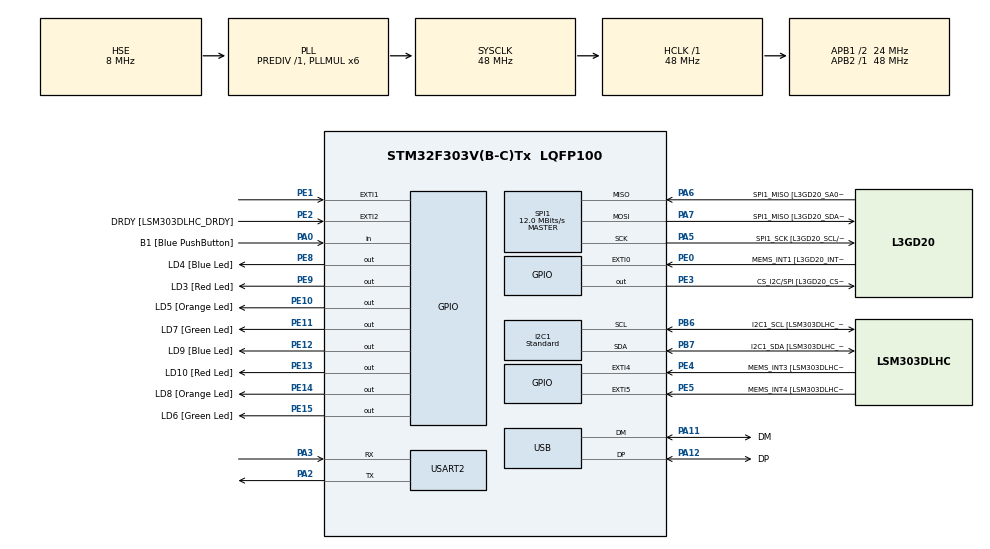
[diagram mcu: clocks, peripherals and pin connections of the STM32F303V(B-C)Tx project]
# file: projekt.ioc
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I2C1.I2C_Speed_Mode=I2C_Standard
I2C1.Timing-I2C=0x2000090E
Mcu.Family=STM32F3
Mcu.Name=STM32F303V(B-C)Tx
Mcu.Package=LQFP100
NVIC.PriorityGroup=NVIC_PRIORITYGROUP_0
NVIC.USB_LP_CAN_RX0_IRQn=true\:0\:0\:false\:false\:true\:false\:true\:true
PA0.GPIO_Label=B1 [Blue PushButton]
PA0.Signal=GPIO_Input
PA11.GPIO_Label=DM
PA11.Mode=Device
PA11.Signal=USB_DM
PA12.GPIO_Label=DP
PA12.Mode=Device
PA12.Signal=USB_DP
PA13.GPIO_Label=SWDIO
PA13.Mode=Serial_Wire
PA13.Signal=SYS_JTMS-SWDIO
PA14.GPIO_Label=SWCLK
PA14.Mode=Serial_Wire
PA14.Signal=SYS_JTCK-SWCLK
PA2.Mode=Asynchronous
PA2.Signal=USART2_TX
PA3.Mode=Asynchronous
PA3.Signal=USART2_RX
PA5.GPIO_Label=SPI1_SCK [L3GD20_SCL/SPC]
PA5.Mode=Full_Duplex_Master
PA5.Signal=SPI1_SCK
PA6.GPIO_Label=SPI1_MISO [L3GD20_SA0/SDO]
PA6.Mode=Full_Duplex_Master
PA6.Signal=SPI1_MISO
PA7.GPIO_Label=SPI1_MISO [L3GD20_SDA/SDI/SDO]
PA7.Mode=Full_Duplex_Master
PA7.Signal=SPI1_MOSI
PB3.GPIO_Label=SWO
PB3.Signal=SYS_JTDO-TRACESWO
PB6.GPIO_Label=I2C1_SCL [LSM303DLHC_SCL]
PB6.GPIO_Pu=GPIO_PULLUP
PB6.Mode=I2C
PB6.Signal=I2C1_SCL
PB7.GPIO_Label=I2C1_SDA [LSM303DLHC_SDA]
PB7.GPIO_Pu=GPIO_PULLUP
PB7.Mode=I2C
PB7.Signal=I2C1_SDA
PC14-OSC32_IN.GPIO_Label=OSC32_IN
PC14-OSC32_IN.Signal=RCC_OSC32_IN
PC15-OSC32_OUT.GPIO_Label=OSC32_OUT
PC15-OSC32_OUT.Signal=RCC_OSC32_OUT
PE0.GPIO_Label=MEMS_INT1 [L3GD20_INT1]
PE0.GPIO_ModeDefaultEXTI=GPIO_MODE_EVT_RISING
PE0.Signal=GPXTI0
PE1.GPIO_ModeDefaultEXTI=GPIO_MODE_IT_RISING_FALLING
PE1.Signal=GPXTI1
PE10.GPIO_Label=LD5 [Orange Led]
PE10.Signal=GPIO_Output
PE11.GPIO_Label=LD7 [Green Led]
PE11.Signal=GPIO_Output
PE12.GPIO_Label=LD9 [Blue Led]
PE12.Signal=GPIO_Output
PE13.GPIO_Label=LD10 [Red Led]
PE13.Signal=GPIO_Output
PE14.GPIO_Label=LD8 [Orange Led]
PE14.Signal=GPIO_Output
PE15.GPIO_Label=LD6 [Green Led]
PE15.Signal=GPIO_Output
PE2.GPIO_Label=DRDY [LSM303DLHC_DRDY]
PE2.GPIO_ModeDefaultEXTI=GPIO_MODE_EVT_RISING
PE2.Signal=GPXTI2
PE3.GPIO_Label=CS_I2C/SPI [L3GD20_CS_I2C/SPI]
PE3.GPIO_Speed=GPIO_SPEED_FREQ_HIGH
PE3.Signal=GPIO_Output
PE4.GPIO_Label=MEMS_INT3 [LSM303DLHC_INT1]
PE4.GPIO_ModeDefaultEXTI=GPIO_MODE_EVT_RISING
PE4.Signal=GPXTI4
PE5.GPIO_Label=MEMS_INT4 [LSM303DLHC_INT2]
PE5.GPIO_ModeDefaultEXTI=GPIO_MODE_EVT_RISING
PE5.Signal=GPXTI5
PE8.GPIO_Label=LD4 [Blue Led]
PE8.Signal=GPIO_Output
PE9.GPIO_Label=LD3 [Red Led]
PE9.Signal=GPIO_Output
PF0-OSC_IN.GPIO_Label=OSC_IN
PF0-OSC_IN.Mode=HSE-External-Clock-Source
PF0-OSC_IN.Signal=RCC_OSC_IN
PF1-OSC_OUT.GPIO_Label=OSC_OUT
PF1-OSC_OUT.Signal=RCC_OSC_OUT
ProjectManager.HeapSize=0x200
ProjectManager.StackSize=0x400
ProjectManager.TargetToolchain=STM32CubeIDE
RCC.AHBFreq_Value=48000000
RCC.APB1CLKDivider=RCC_HCLK_DIV2
RCC.APB1Freq_Value=24000000
RCC.APB1TimFreq_Value=48000000
RCC.APB2Freq_Value=48000000
RCC.APB2TimFreq_Value=48000000
RCC.CortexFreq_Value=48000000
RCC.HCLKFreq_Value=48000000
RCC.HSE_VALUE=8000000
RCC.HSI_VALUE=8000000
RCC.LSE_VALUE=32768
RCC.PLLMUL=RCC_PLL_MUL6
RCC.SYSCLKFreq_VALUE=48000000
RCC.SYSCLKSourceVirtual=RCC_SYSCLKSOURCE_PLLCLK
RCC.USBFreq_Value=48000000
SPI1.BaudRatePrescaler=SPI_BAUDRATEPRESCALER_4
SPI1.CLKPhase=SPI_PHASE_2EDGE
SPI1.CLKPolarity=SPI_POLARITY_HIGH
SPI1.CalculateBaudRate=12.0 MBits/s
SPI1.DataSize=SPI_DATASIZE_8BIT
SPI1.Direction=SPI_DIRECTION_2LINES
SPI1.Mode=SPI_MODE_MASTER
SPI1.VirtualType=VM_MASTER
USART2.VirtualMode-Asynchronous=VM_ASYNC
USB_DEVICE.CLASS_NAME_FS=CDC
USB_DEVICE.VirtualMode=Cdc
USB_DEVICE.VirtualModeFS=Cdc_FS
VP_USB_DEVICE_VS_USB_DEVICE_CDC_FS.Mode=CDC_FS
board=STM32F3DISCOVERY

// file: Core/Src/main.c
/* USER CODE BEGIN Header */
/**
  ******************************************************************************
  * @file           : main.c
  * @brief          : Main program body
  ******************************************************************************
  * @attention
  *
  * Copyright (c) 2023 STMicroelectronics.
  * All rights reserved.
  *
  * This software is licensed under terms that can be found in the LICENSE file
  * in the root directory of this software component.
  * If no LICENSE file comes with this software, it is provided AS-IS.
  *
  ******************************************************************************
  */
/* USER CODE END Header */
#include "main.h"
#include "usb_device.h"

/* USER CODE BEGIN Includes */
#include "usbd_cdc_if.h"
/* USER CODE END Includes */

I2C_HandleTypeDef hi2c1;

SPI_HandleTypeDef hspi1;

UART_HandleTypeDef huart2;

void SystemClock_Config(void);
static void MX_GPIO_Init(void);
static void MX_I2C1_Init(void);
static void MX_SPI1_Init(void);
static void MX_USART2_UART_Init(void);
/* USER CODE BEGIN PFP */
uint8_t spi1_beriRegister(uint8_t);
void spi1_beriRegistre(uint8_t, uint8_t*, uint8_t);
void spi1_pisiRegister(uint8_t, uint8_t);
uint8_t i2c1_pisiRegister(uint8_t, uint8_t, uint8_t);
void i2c1_beriRegistre(uint8_t, uint8_t, uint8_t*, uint8_t);
void initLSM303DLHC(void);
/* USER CODE END PFP */

/* USER CODE BEGIN 0 */

void pavza(){
  uint32_t counter = 0;
  for(counter=0; counter<600; counter++){
    asm("nop");
  }
}

uint8_t spi1_beriRegister(uint8_t reg)
{
  uint16_t buf_out, buf_in;
  reg |= 0x80; // najpomembnejsi bit na 1
  buf_out = reg; // little endian, se postavi na pravo mesto ....
  HAL_GPIO_WritePin(GPIOE, GPIO_PIN_3, GPIO_PIN_RESET);
  pavza();
  //HAL_SPI_TransmitReceive(&hspi1, (uint8_t*)&buf_out, (uint8_t*)&buf_in, 2, 2); // blocking posiljanje ....
  HAL_SPI_TransmitReceive(&hspi1, &((uint8_t*)&buf_out)[0], &((uint8_t*)&buf_in)[0], 1, 2); // razbito na dva dela, da se podaljsa cas in omogoci pravilno delovanje testa
  pavza();
  HAL_SPI_TransmitReceive(&hspi1, &((uint8_t*)&buf_out)[1], &((uint8_t*)&buf_in)[1], 1, 2); // razbito na dva dela, da se podaljsa cas in omogoci pravilno delovanje testa
  HAL_GPIO_WritePin(GPIOE, GPIO_PIN_3, GPIO_PIN_SET);
  pavza();
  return buf_in >> 8; // little endian...
}

void spi1_pisiRegister(uint8_t reg, uint8_t vrednost)
{
  uint16_t buf_out;
  buf_out = reg | (vrednost<<8); // little endian, se postavi na pravo mesto ....
  HAL_GPIO_WritePin(GPIOE, GPIO_PIN_3, GPIO_PIN_RESET);
  pavza();
  //HAL_SPI_Transmit(&hspi1, (uint8_t*)&buf_out, 2, 2); // blocking posiljanje ....
  HAL_SPI_Transmit(&hspi1, &((uint8_t*)&buf_out)[0], 1, 2); // razbito na dva dela, da se podaljsa cas in omogoci pravilno delovanje testa
  pavza();
  HAL_SPI_Transmit(&hspi1, &((uint8_t*)&buf_out)[1], 1, 2); // razbito na dva dela, da se podaljsa cas in omogoci pravilno delovanje testa
  HAL_GPIO_WritePin(GPIOE, GPIO_PIN_3, GPIO_PIN_SET);
  pavza();
}

void spi1_beriRegistre(uint8_t reg, uint8_t* buffer, uint8_t velikost)
{
  reg |= 0xC0; // najpomembnejsa bita na 1
  HAL_GPIO_WritePin(GPIOE, GPIO_PIN_3, GPIO_PIN_RESET);
  pavza();
  HAL_SPI_Transmit(&hspi1, &reg, 1, 10); // blocking posiljanje....
  pavza();
  HAL_SPI_Receive(&hspi1,  buffer, velikost, velikost); // blocking posiljanje....
  HAL_GPIO_WritePin(GPIOE, GPIO_PIN_3, GPIO_PIN_SET);
  pavza();
}

uint8_t i2c1_pisiRegister(uint8_t naprava, uint8_t reg, uint8_t podatek)
{
  naprava <<= 1;
  return HAL_I2C_Mem_Write(&hi2c1, naprava, reg, I2C_MEMADD_SIZE_8BIT, &podatek, 1, 10);
}

void i2c1_beriRegistre(uint8_t naprava, uint8_t reg, uint8_t* podatek, uint8_t dolzina)
{
  if ((dolzina>1)&&(naprava==0x19))  // ce je naprava 0x19 moramo postaviti ta bit, ce zelimo brati vec zlogov
    reg |= 0x80;
  naprava <<= 1;
  HAL_I2C_Mem_Read(&hi2c1, naprava, reg, I2C_MEMADD_SIZE_8BIT, podatek, dolzina, dolzina);
}

void initLSM303DLHC()
{
  HAL_Delay(10);

  // Za potrebe testa, moramo testni napravi sporociti kateri senzor imamo
  #define OLD_SENSOR 0x73 // Odkomentiramo za LSM303DLHC / stari senzor
  //#define NEW_SENSOR 0x6E // Odkomentiramo za LSM303AGR / novi senzor

  #if defined(OLD_SENSOR) && !defined(NEW_SENSOR)
  i2c1_pisiRegister(0x1e, 0x4F, OLD_SENSOR); // Povemo testni napravi, da imamo stari senzor
  #elif !defined(OLD_SENSOR) && defined(NEW_SENSOR)
  i2c1_pisiRegister(0x1e, 0x4F, NEW_SENSOR); // Povemo testni napravi, da imamo novi senzor
  #else
  for(;;); // V primeru napake, pocakamo tukaj
  #endif
  HAL_Delay(100);

  // inicializiraj pospeskometer
  i2c1_pisiRegister(0x19, 0x20, 0x47);  // zbudi pospeskometer in omogoci osi
  i2c1_pisiRegister(0x19, 0x23, 0x98);  // nastavi posodobitev samo ko se prebere vrednost ter visoko locljivost

  spi1_pisiRegister(0x20, 0x4F); // zbudi ziroskop in omogoci osi
  spi1_pisiRegister(0x23, 0x10);
  spi1_pisiRegister(0x22, 0x88);
}
/* USER CODE END 0 */

int main(void)
{

  /* MCU Configuration--------------------------------------------------------*/

  /* Reset of all peripherals, Initializes the Flash interface and the Systick. */
  HAL_Init();

  /* Configure the system clock */
  SystemClock_Config();

  /* Initialize all configured peripherals */
  MX_GPIO_Init();
  MX_I2C1_Init();
  MX_SPI1_Init();
  MX_USB_DEVICE_Init();
  MX_USART2_UART_Init();
  /* USER CODE BEGIN 2 */
  __HAL_SPI_ENABLE(&hspi1);
  __HAL_I2C_ENABLE(&hi2c1);
  HAL_GPIO_WritePin(GPIOE, GPIO_PIN_3, GPIO_PIN_SET); // CS postavimo na 1
  initLSM303DLHC();

  /* USER CODE END 2 */

  /* Infinite loop */
  /* USER CODE BEGIN WHILE */
  int16_t meritevG[3];
  int16_t meritevA[3];
  uint8_t buttonState = GPIO_PIN_RESET;
  uint8_t state = 0;
  while (1)
  {
	  if (HAL_GPIO_ReadPin(GPIOA, GPIO_PIN_0) == GPIO_PIN_SET && buttonState == GPIO_PIN_RESET){
		  state++;
		  if(state > 2){
			  state = 1;
		  }
		  buttonState = GPIO_PIN_SET;
	  }

	  else if (HAL_GPIO_ReadPin(GPIOA, GPIO_PIN_0) == GPIO_PIN_RESET) {
		  buttonState = GPIO_PIN_RESET;
	  }

	  HAL_Delay(100);

	  if(state == 2) {
		  spi1_beriRegistre(0x28, (uint8_t*)&meritevG[0], 6);
		  i2c1_beriRegistre(0x19, 0x28,(uint8_t*)&meritevA[0], 6);

		  float GX = (float)meritevG[0] * 500 / 32768;
		  float GY = (float)meritevG[1] * 500 / 32768;
		  float GZ = (float)meritevG[2] * 500 / 32768;
		  float AX = (float)meritevA[0] * 4 / 32768;
		  float AY = (float)meritevA[1] * 4 / 32768;
		  float AZ = (float)meritevA[2] * 4 / 32768;

		  char ascii[200];  // Adjust the array size as needed
		  snprintf(ascii, sizeof(ascii), "{\"GX\":%.3f, \"GY\":%.3f, \"GZ\":%.3f, \"AX\":%.3f, \"AY\":%.3f, \"AZ\":%.3f}\n\r", GX, GY, GZ, AX, AY, AZ);

		  HAL_UART_Transmit(&huart2, (uint8_t*)ascii, strlen(ascii), 100);

		  HAL_GPIO_TogglePin(GPIOE, GPIO_PIN_13);
	  }
    /* USER CODE END WHILE */

  }
}

void SystemClock_Config(void)
{
  RCC_OscInitTypeDef RCC_OscInitStruct = {0};
  RCC_ClkInitTypeDef RCC_ClkInitStruct = {0};
  RCC_PeriphCLKInitTypeDef PeriphClkInit = {0};

  /** Initializes the RCC Oscillators according to the specified parameters
  * in the RCC_OscInitTypeDef structure.
  */
  RCC_OscInitStruct.OscillatorType = RCC_OSCILLATORTYPE_HSI|RCC_OSCILLATORTYPE_HSE;
  RCC_OscInitStruct.HSEState = RCC_HSE_BYPASS;
  RCC_OscInitStruct.HSEPredivValue = RCC_HSE_PREDIV_DIV1;
  RCC_OscInitStruct.HSIState = RCC_HSI_ON;
  RCC_OscInitStruct.HSICalibrationValue = RCC_HSICALIBRATION_DEFAULT;
  RCC_OscInitStruct.PLL.PLLState = RCC_PLL_ON;
  RCC_OscInitStruct.PLL.PLLSource = RCC_PLLSOURCE_HSE;
  RCC_OscInitStruct.PLL.PLLMUL = RCC_PLL_MUL6;
  if (HAL_RCC_OscConfig(&RCC_OscInitStruct) != HAL_OK)
  {
    Error_Handler();
  }

  /** Initializes the CPU, AHB and APB buses clocks
  */
  RCC_ClkInitStruct.ClockType = RCC_CLOCKTYPE_HCLK|RCC_CLOCKTYPE_SYSCLK
                              |RCC_CLOCKTYPE_PCLK1|RCC_CLOCKTYPE_PCLK2;
  RCC_ClkInitStruct.SYSCLKSource = RCC_SYSCLKSOURCE_PLLCLK;
  RCC_ClkInitStruct.AHBCLKDivider = RCC_SYSCLK_DIV1;
  RCC_ClkInitStruct.APB1CLKDivider = RCC_HCLK_DIV2;
  RCC_ClkInitStruct.APB2CLKDivider = RCC_HCLK_DIV1;

  if (HAL_RCC_ClockConfig(&RCC_ClkInitStruct, FLASH_LATENCY_1) != HAL_OK)
  {
    Error_Handler();
  }
  PeriphClkInit.PeriphClockSelection = RCC_PERIPHCLK_USB|RCC_PERIPHCLK_USART2
                              |RCC_PERIPHCLK_I2C1;
  PeriphClkInit.Usart2ClockSelection = RCC_USART2CLKSOURCE_PCLK1;
  PeriphClkInit.I2c1ClockSelection = RCC_I2C1CLKSOURCE_HSI;
  PeriphClkInit.USBClockSelection = RCC_USBCLKSOURCE_PLL;
  if (HAL_RCCEx_PeriphCLKConfig(&PeriphClkInit) != HAL_OK)
  {
    Error_Handler();
  }
}

static void MX_I2C1_Init(void)
{

  hi2c1.Instance = I2C1;
  hi2c1.Init.Timing = 0x2000090E;
  hi2c1.Init.OwnAddress1 = 0;
  hi2c1.Init.AddressingMode = I2C_ADDRESSINGMODE_7BIT;
  hi2c1.Init.DualAddressMode = I2C_DUALADDRESS_DISABLE;
  hi2c1.Init.OwnAddress2 = 0;
  hi2c1.Init.OwnAddress2Masks = I2C_OA2_NOMASK;
  hi2c1.Init.GeneralCallMode = I2C_GENERALCALL_DISABLE;
  hi2c1.Init.NoStretchMode = I2C_NOSTRETCH_DISABLE;
  if (HAL_I2C_Init(&hi2c1) != HAL_OK)
  {
    Error_Handler();
  }

  /** Configure Analogue filter
  */
  if (HAL_I2CEx_ConfigAnalogFilter(&hi2c1, I2C_ANALOGFILTER_ENABLE) != HAL_OK)
  {
    Error_Handler();
  }

  /** Configure Digital filter
  */
  if (HAL_I2CEx_ConfigDigitalFilter(&hi2c1, 0) != HAL_OK)
  {
    Error_Handler();
  }

}

static void MX_SPI1_Init(void)
{

  /* SPI1 parameter configuration*/
  hspi1.Instance = SPI1;
  hspi1.Init.Mode = SPI_MODE_MASTER;
  hspi1.Init.Direction = SPI_DIRECTION_2LINES;
  hspi1.Init.DataSize = SPI_DATASIZE_8BIT;
  hspi1.Init.CLKPolarity = SPI_POLARITY_HIGH;
  hspi1.Init.CLKPhase = SPI_PHASE_2EDGE;
  hspi1.Init.NSS = SPI_NSS_SOFT;
  hspi1.Init.BaudRatePrescaler = SPI_BAUDRATEPRESCALER_8;
  hspi1.Init.FirstBit = SPI_FIRSTBIT_MSB;
  hspi1.Init.TIMode = SPI_TIMODE_DISABLE;
  hspi1.Init.CRCCalculation = SPI_CRCCALCULATION_DISABLE;
  hspi1.Init.CRCPolynomial = 7;
  hspi1.Init.CRCLength = SPI_CRC_LENGTH_DATASIZE;
  hspi1.Init.NSSPMode = SPI_NSS_PULSE_DISABLE;
  if (HAL_SPI_Init(&hspi1) != HAL_OK)
  {
    Error_Handler();
  }

}

static void MX_USART2_UART_Init(void)
{

  huart2.Instance = USART2;
  huart2.Init.BaudRate = 38400;
  huart2.Init.WordLength = UART_WORDLENGTH_8B;
  huart2.Init.StopBits = UART_STOPBITS_1;
  huart2.Init.Parity = UART_PARITY_NONE;
  huart2.Init.Mode = UART_MODE_TX_RX;
  huart2.Init.HwFlowCtl = UART_HWCONTROL_NONE;
  huart2.Init.OverSampling = UART_OVERSAMPLING_16;
  huart2.Init.OneBitSampling = UART_ONE_BIT_SAMPLE_DISABLE;
  huart2.AdvancedInit.AdvFeatureInit = UART_ADVFEATURE_NO_INIT;
  if (HAL_UART_Init(&huart2) != HAL_OK)
  {
    Error_Handler();
  }

}

static void MX_GPIO_Init(void)
{
  GPIO_InitTypeDef GPIO_InitStruct = {0};

  /* GPIO Ports Clock Enable */
  __HAL_RCC_GPIOE_CLK_ENABLE();
  __HAL_RCC_GPIOC_CLK_ENABLE();
  __HAL_RCC_GPIOF_CLK_ENABLE();
  __HAL_RCC_GPIOA_CLK_ENABLE();
  __HAL_RCC_GPIOB_CLK_ENABLE();

  /*Configure GPIO pin Output Level */
  HAL_GPIO_WritePin(GPIOE, CS_I2C_SPI_Pin|LD4_Pin|LD3_Pin|LD5_Pin
                          |LD7_Pin|LD9_Pin|LD10_Pin|LD8_Pin
                          |LD6_Pin, GPIO_PIN_RESET);

  /*Configure GPIO pins : DRDY_Pin MEMS_INT3_Pin MEMS_INT4_Pin MEMS_INT1_Pin */
  GPIO_InitStruct.Pin = DRDY_Pin|MEMS_INT3_Pin|MEMS_INT4_Pin|MEMS_INT1_Pin;
  GPIO_InitStruct.Mode = GPIO_MODE_EVT_RISING;
  GPIO_InitStruct.Pull = GPIO_NOPULL;
  HAL_GPIO_Init(GPIOE, &GPIO_InitStruct);

  /*Configure GPIO pin : CS_I2C_SPI_Pin */
  GPIO_InitStruct.Pin = CS_I2C_SPI_Pin;
  GPIO_InitStruct.Mode = GPIO_MODE_OUTPUT_PP;
  GPIO_InitStruct.Pull = GPIO_NOPULL;
  GPIO_InitStruct.Speed = GPIO_SPEED_FREQ_HIGH;
  HAL_GPIO_Init(CS_I2C_SPI_GPIO_Port, &GPIO_InitStruct);

  /*Configure GPIO pin : B1_Pin */
  GPIO_InitStruct.Pin = B1_Pin;
  GPIO_InitStruct.Mode = GPIO_MODE_INPUT;
  GPIO_InitStruct.Pull = GPIO_NOPULL;
  HAL_GPIO_Init(B1_GPIO_Port, &GPIO_InitStruct);

  /*Configure GPIO pins : LD4_Pin LD3_Pin LD5_Pin LD7_Pin
                           LD9_Pin LD10_Pin LD8_Pin LD6_Pin */
  GPIO_InitStruct.Pin = LD4_Pin|LD3_Pin|LD5_Pin|LD7_Pin
                          |LD9_Pin|LD10_Pin|LD8_Pin|LD6_Pin;
  GPIO_InitStruct.Mode = GPIO_MODE_OUTPUT_PP;
  GPIO_InitStruct.Pull = GPIO_NOPULL;
  GPIO_InitStruct.Speed = GPIO_SPEED_FREQ_LOW;
  HAL_GPIO_Init(GPIOE, &GPIO_InitStruct);

  /*Configure GPIO pin : PE1 */
  GPIO_InitStruct.Pin = GPIO_PIN_1;
  GPIO_InitStruct.Mode = GPIO_MODE_IT_RISING_FALLING;
  GPIO_InitStruct.Pull = GPIO_NOPULL;
  HAL_GPIO_Init(GPIOE, &GPIO_InitStruct);

}

void Error_Handler(void)
{
  __disable_irq();
  while (1)
  {
  }
}
